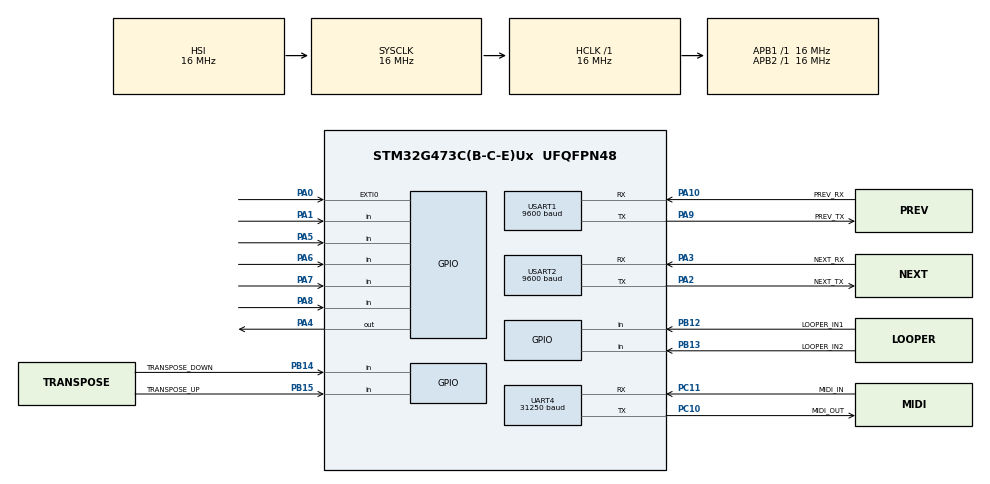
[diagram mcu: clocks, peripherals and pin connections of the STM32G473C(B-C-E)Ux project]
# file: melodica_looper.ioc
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Mcu.Family=STM32G4
Mcu.Name=STM32G473C(B-C-E)Ux
Mcu.Package=UFQFPN48
NVIC.PriorityGroup=NVIC_PRIORITYGROUP_4
NVIC.UART4_IRQn=true\:0\:0\:false\:false\:true\:true\:true\:true
NVIC.USART1_IRQn=true\:0\:0\:false\:false\:true\:true\:true\:true
NVIC.USART2_IRQn=true\:0\:0\:false\:false\:true\:true\:true\:true
PA0.Signal=GPXTI0
PA1.Signal=GPIO_Input
PA10.GPIO_Label=PREV_RX
PA10.Mode=Asynchronous
PA10.Signal=USART1_RX
PA2.GPIO_Label=NEXT_TX
PA2.Mode=Asynchronous
PA2.Signal=USART2_TX
PA3.GPIO_Label=NEXT_RX
PA3.Mode=Asynchronous
PA3.Signal=USART2_RX
PA4.Signal=GPIO_Output
PA5.Signal=GPIO_Input
PA6.Signal=GPIO_Input
PA7.Signal=GPIO_Input
PA8.Signal=GPIO_Input
PA9.GPIO_Label=PREV_TX
PA9.Mode=Asynchronous
PA9.Signal=USART1_TX
PB12.GPIO_Label=LOOPER_IN1
PB12.Signal=GPIO_Input
PB13.GPIO_Label=LOOPER_IN2
PB13.Signal=GPIO_Input
PB14.GPIO_Label=TRANSPOSE_DOWN
PB14.Signal=GPIO_Input
PB15.GPIO_Label=TRANSPOSE_UP
PB15.Signal=GPIO_Input
PC10.GPIO_Label=MIDI_OUT
PC10.Mode=Asynchronous
PC10.Signal=UART4_TX
PC11.GPIO_Label=MIDI_IN
PC11.Mode=Asynchronous
PC11.Signal=UART4_RX
ProjectManager.HeapSize=0x200
ProjectManager.StackSize=0x400
ProjectManager.TargetToolchain=STM32CubeIDE
RCC.AHBFreq_Value=16000000
RCC.APB1Freq_Value=16000000
RCC.APB1TimFreq_Value=16000000
RCC.APB2Freq_Value=16000000
RCC.APB2TimFreq_Value=16000000
RCC.CortexFreq_Value=16000000
RCC.EXTERNAL_CLOCK_VALUE=12288000
RCC.HCLKFreq_Value=16000000
RCC.HSE_VALUE=8000000
RCC.HSI48_VALUE=48000000
RCC.HSI_VALUE=16000000
RCC.LSE_VALUE=32768
RCC.SYSCLKFreq_VALUE=16000000
RCC.USBFreq_Value=64000000
RCC.VCOOutputFreq_Value=128000000
TIM2.PeriodNoDither=10-1
TIM2.Prescaler=8400-1
UART4.BaudRate=31250
USART1.BaudRate=9600
USART1.VirtualMode-Asynchronous=VM_ASYNC
USART2.BaudRate=9600
USART2.VirtualMode-Asynchronous=VM_ASYNC
VP_SYS_VS_DBSignals.Mode=DisableDeadBatterySignals
VP_TIM2_VS_ClockSourceINT.Mode=Internal
board=custom

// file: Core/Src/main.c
/* USER CODE BEGIN Header */
/**
  ******************************************************************************
  * @file           : main.c
  * @brief          : Main program body
  ******************************************************************************
  * @attention
  *
  * Copyright (c) 2025 STMicroelectronics.
  * All rights reserved.
  *
  * This software is licensed under terms that can be found in the LICENSE file
  * in the root directory of this software component.
  * If no LICENSE file comes with this software, it is provided AS-IS.
  *
  ******************************************************************************
  */
/* USER CODE END Header */
#include "main.h"

/* USER CODE BEGIN Includes */
#include "midi.h"
#include "modules.h"

/* USER CODE END Includes */

/* USER CODE BEGIN PD */
#define SEND_DUMMY_NOTE 0
/* USER CODE END PD */

TIM_HandleTypeDef htim2;

UART_HandleTypeDef huart4;
UART_HandleTypeDef huart1;
UART_HandleTypeDef huart2;

/* USER CODE BEGIN PV */
uint32_t cur_t;		// Globally accessible timestamp
/* USER CODE END PV */

void SystemClock_Config(void);
static void MX_GPIO_Init(void);
static void MX_UART4_Init(void);
static void MX_TIM2_Init(void);
static void MX_USART2_UART_Init(void);
static void MX_USART1_UART_Init(void);

/* USER CODE BEGIN 0 */
void HAL_UART_RxCpltCallback(UART_HandleTypeDef *huart)
{

    if (huart->Instance == UART4) {
    	MIDI_ProcessByte();
    }
    if (huart->Instance == PREV_USART) {
    	Module_ProcessByte();
    }

}

/* USER CODE END 0 */

int main(void)
{

  /* MCU Configuration--------------------------------------------------------*/

  /* Reset of all peripherals, Initializes the Flash interface and the Systick. */
  HAL_Init();

  /* Configure the system clock */
  SystemClock_Config();

  /* Initialize all configured peripherals */
  MX_GPIO_Init();
  MX_UART4_Init();
  MX_TIM2_Init();
  MX_USART2_UART_Init();
  MX_USART1_UART_Init();
  /* USER CODE BEGIN 2 */
  Module_Init();
  MIDI_INIT();
  /* USER CODE END 2 */

  /* Infinite loop */
  /* USER CODE BEGIN WHILE */
  uint32_t last_noteon = HAL_GetTick();
  uint32_t last_noteoff = HAL_GetTick() - 500;
  stops_state.stops[0] = 1;
  stops_state.stops[1] = 1;
  stops_state.stops[2] = 1;
  stops_state.stops[3] = 1;

  while (1)
  {
	  cur_t = HAL_GetTick();

	  // Run ticking update on all modules
	  for (uint8_t i = 0; i < 16 && streams[i]; i++) {
		  streams[i]->update_tick(cur_t);
	  }

	  // Testing: Putting a note in the out stream
	  if (cur_t - last_noteon > 1000) {
		  //transpose_state.shift = (transpose_state.shift + 1) % 12;
		  if (SEND_DUMMY_NOTE) note_on(0, 48, 60);
		  stream_noteon(streams[0], 0, 60, 60);
		  last_noteon = cur_t;
	  }

	  if (cur_t - last_noteoff > 1000) {
		  if (SEND_DUMMY_NOTE) note_off(0, 48, 0);
		  stream_noteoff(streams[0], 0, 60, 0);
		  last_noteoff = cur_t;
	  }

	  // Run all modules
	  MIDI_RunModules();

	  // If no heartbeat has been detected lately, treat modules as disconnected
	  if (cur_t - last_rx_timestamp > 2000) {
		  streams[0] = &out_stream;
		  streams[1] = NULL;
	  }

    /* USER CODE END WHILE */

  }
}

void SystemClock_Config(void)
{
  RCC_OscInitTypeDef RCC_OscInitStruct = {0};
  RCC_ClkInitTypeDef RCC_ClkInitStruct = {0};

  /** Configure the main internal regulator output voltage
  */
  HAL_PWREx_ControlVoltageScaling(PWR_REGULATOR_VOLTAGE_SCALE1);

  /** Initializes the RCC Oscillators according to the specified parameters
  * in the RCC_OscInitTypeDef structure.
  */
  RCC_OscInitStruct.OscillatorType = RCC_OSCILLATORTYPE_HSI;
  RCC_OscInitStruct.HSIState = RCC_HSI_ON;
  RCC_OscInitStruct.HSICalibrationValue = RCC_HSICALIBRATION_DEFAULT;
  RCC_OscInitStruct.PLL.PLLState = RCC_PLL_NONE;
  if (HAL_RCC_OscConfig(&RCC_OscInitStruct) != HAL_OK)
  {
    Error_Handler();
  }

  /** Initializes the CPU, AHB and APB buses clocks
  */
  RCC_ClkInitStruct.ClockType = RCC_CLOCKTYPE_HCLK|RCC_CLOCKTYPE_SYSCLK
                              |RCC_CLOCKTYPE_PCLK1|RCC_CLOCKTYPE_PCLK2;
  RCC_ClkInitStruct.SYSCLKSource = RCC_SYSCLKSOURCE_HSI;
  RCC_ClkInitStruct.AHBCLKDivider = RCC_SYSCLK_DIV1;
  RCC_ClkInitStruct.APB1CLKDivider = RCC_HCLK_DIV1;
  RCC_ClkInitStruct.APB2CLKDivider = RCC_HCLK_DIV1;

  if (HAL_RCC_ClockConfig(&RCC_ClkInitStruct, FLASH_LATENCY_0) != HAL_OK)
  {
    Error_Handler();
  }
}

static void MX_TIM2_Init(void)
{

  TIM_ClockConfigTypeDef sClockSourceConfig = {0};
  TIM_MasterConfigTypeDef sMasterConfig = {0};

  htim2.Instance = TIM2;
  htim2.Init.Prescaler = 8400-1;
  htim2.Init.CounterMode = TIM_COUNTERMODE_UP;
  htim2.Init.Period = 9;
  htim2.Init.ClockDivision = TIM_CLOCKDIVISION_DIV1;
  htim2.Init.AutoReloadPreload = TIM_AUTORELOAD_PRELOAD_DISABLE;
  if (HAL_TIM_Base_Init(&htim2) != HAL_OK)
  {
    Error_Handler();
  }
  sClockSourceConfig.ClockSource = TIM_CLOCKSOURCE_INTERNAL;
  if (HAL_TIM_ConfigClockSource(&htim2, &sClockSourceConfig) != HAL_OK)
  {
    Error_Handler();
  }
  sMasterConfig.MasterOutputTrigger = TIM_TRGO_RESET;
  sMasterConfig.MasterSlaveMode = TIM_MASTERSLAVEMODE_DISABLE;
  if (HAL_TIMEx_MasterConfigSynchronization(&htim2, &sMasterConfig) != HAL_OK)
  {
    Error_Handler();
  }

}

static void MX_UART4_Init(void)
{

  huart4.Instance = UART4;
  huart4.Init.BaudRate = 31250;
  huart4.Init.WordLength = UART_WORDLENGTH_8B;
  huart4.Init.StopBits = UART_STOPBITS_1;
  huart4.Init.Parity = UART_PARITY_NONE;
  huart4.Init.Mode = UART_MODE_TX_RX;
  huart4.Init.HwFlowCtl = UART_HWCONTROL_NONE;
  huart4.Init.OverSampling = UART_OVERSAMPLING_16;
  huart4.Init.OneBitSampling = UART_ONE_BIT_SAMPLE_DISABLE;
  huart4.Init.ClockPrescaler = UART_PRESCALER_DIV1;
  huart4.AdvancedInit.AdvFeatureInit = UART_ADVFEATURE_NO_INIT;
  if (HAL_UART_Init(&huart4) != HAL_OK)
  {
    Error_Handler();
  }
  if (HAL_UARTEx_SetTxFifoThreshold(&huart4, UART_TXFIFO_THRESHOLD_1_8) != HAL_OK)
  {
    Error_Handler();
  }
  if (HAL_UARTEx_SetRxFifoThreshold(&huart4, UART_RXFIFO_THRESHOLD_1_8) != HAL_OK)
  {
    Error_Handler();
  }
  if (HAL_UARTEx_DisableFifoMode(&huart4) != HAL_OK)
  {
    Error_Handler();
  }

}

static void MX_USART1_UART_Init(void)
{

  huart1.Instance = USART1;
  huart1.Init.BaudRate = 9600;
  huart1.Init.WordLength = UART_WORDLENGTH_8B;
  huart1.Init.StopBits = UART_STOPBITS_1;
  huart1.Init.Parity = UART_PARITY_NONE;
  huart1.Init.Mode = UART_MODE_TX_RX;
  huart1.Init.HwFlowCtl = UART_HWCONTROL_NONE;
  huart1.Init.OverSampling = UART_OVERSAMPLING_16;
  huart1.Init.OneBitSampling = UART_ONE_BIT_SAMPLE_DISABLE;
  huart1.Init.ClockPrescaler = UART_PRESCALER_DIV1;
  huart1.AdvancedInit.AdvFeatureInit = UART_ADVFEATURE_NO_INIT;
  if (HAL_UART_Init(&huart1) != HAL_OK)
  {
    Error_Handler();
  }
  if (HAL_UARTEx_SetTxFifoThreshold(&huart1, UART_TXFIFO_THRESHOLD_1_8) != HAL_OK)
  {
    Error_Handler();
  }
  if (HAL_UARTEx_SetRxFifoThreshold(&huart1, UART_RXFIFO_THRESHOLD_1_8) != HAL_OK)
  {
    Error_Handler();
  }
  if (HAL_UARTEx_DisableFifoMode(&huart1) != HAL_OK)
  {
    Error_Handler();
  }

}

static void MX_USART2_UART_Init(void)
{

  huart2.Instance = USART2;
  huart2.Init.BaudRate = 9600;
  huart2.Init.WordLength = UART_WORDLENGTH_8B;
  huart2.Init.StopBits = UART_STOPBITS_1;
  huart2.Init.Parity = UART_PARITY_NONE;
  huart2.Init.Mode = UART_MODE_TX_RX;
  huart2.Init.HwFlowCtl = UART_HWCONTROL_NONE;
  huart2.Init.OverSampling = UART_OVERSAMPLING_16;
  huart2.Init.OneBitSampling = UART_ONE_BIT_SAMPLE_DISABLE;
  huart2.Init.ClockPrescaler = UART_PRESCALER_DIV1;
  huart2.AdvancedInit.AdvFeatureInit = UART_ADVFEATURE_NO_INIT;
  if (HAL_UART_Init(&huart2) != HAL_OK)
  {
    Error_Handler();
  }
  if (HAL_UARTEx_SetTxFifoThreshold(&huart2, UART_TXFIFO_THRESHOLD_1_8) != HAL_OK)
  {
    Error_Handler();
  }
  if (HAL_UARTEx_SetRxFifoThreshold(&huart2, UART_RXFIFO_THRESHOLD_1_8) != HAL_OK)
  {
    Error_Handler();
  }
  if (HAL_UARTEx_DisableFifoMode(&huart2) != HAL_OK)
  {
    Error_Handler();
  }

}

static void MX_GPIO_Init(void)
{
  GPIO_InitTypeDef GPIO_InitStruct = {0};

  /* GPIO Ports Clock Enable */
  __HAL_RCC_GPIOA_CLK_ENABLE();
  __HAL_RCC_GPIOB_CLK_ENABLE();
  __HAL_RCC_GPIOC_CLK_ENABLE();

  /*Configure GPIO pin Output Level */
  HAL_GPIO_WritePin(GPIOA, GPIO_PIN_4, GPIO_PIN_RESET);

  /*Configure GPIO pin : PA0 */
  GPIO_InitStruct.Pin = GPIO_PIN_0;
  GPIO_InitStruct.Mode = GPIO_MODE_IT_RISING;
  GPIO_InitStruct.Pull = GPIO_NOPULL;
  HAL_GPIO_Init(GPIOA, &GPIO_InitStruct);

  /*Configure GPIO pins : PA1 PA5 PA6 PA7
                           PA8 */
  GPIO_InitStruct.Pin = GPIO_PIN_1|GPIO_PIN_5|GPIO_PIN_6|GPIO_PIN_7
                          |GPIO_PIN_8;
  GPIO_InitStruct.Mode = GPIO_MODE_INPUT;
  GPIO_InitStruct.Pull = GPIO_NOPULL;
  HAL_GPIO_Init(GPIOA, &GPIO_InitStruct);

  /*Configure GPIO pin : PA4 */
  GPIO_InitStruct.Pin = GPIO_PIN_4;
  GPIO_InitStruct.Mode = GPIO_MODE_OUTPUT_PP;
  GPIO_InitStruct.Pull = GPIO_NOPULL;
  GPIO_InitStruct.Speed = GPIO_SPEED_FREQ_LOW;
  HAL_GPIO_Init(GPIOA, &GPIO_InitStruct);

  /*Configure GPIO pins : LOOPER_IN1_Pin LOOPER_IN2_Pin TRANSPOSE_DOWN_Pin TRANSPOSE_UP_Pin */
  GPIO_InitStruct.Pin = LOOPER_IN1_Pin|LOOPER_IN2_Pin|TRANSPOSE_DOWN_Pin|TRANSPOSE_UP_Pin;
  GPIO_InitStruct.Mode = GPIO_MODE_INPUT;
  GPIO_InitStruct.Pull = GPIO_NOPULL;
  HAL_GPIO_Init(GPIOB, &GPIO_InitStruct);

}

void Error_Handler(void)
{
  __disable_irq();
  while (1)
  {
  }
}
